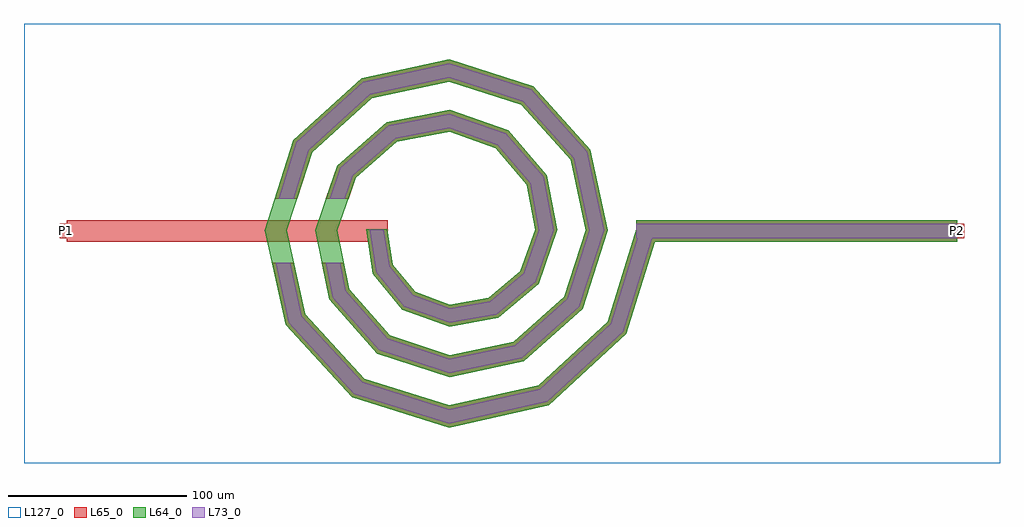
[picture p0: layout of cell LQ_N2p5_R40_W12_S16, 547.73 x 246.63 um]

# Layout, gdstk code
import gdstk
lib = gdstk.Library(unit=1e-6, precision=1e-09)
def R(c, l, rs):  # rectangles x0, y0, x1, y1
    for r in rs: c.add(gdstk.rectangle(r[:2], r[2:], *l))
def P(c, l, *ps):  # polygons
    for p in ps: c.add(gdstk.Polygon(p, *l))
L64_0 = (64, 0)
L65_0 = (65, 0)
L73_0 = (73, 0)
L127_0 = (127, 0)

lq_n2p5_r40_w12_s16 = lib.new_cell('LQ_N2p5_R40_W12_S16')
R(lq_n2p5_r40_w12_s16, L64_0, [(105.269,-6,285.269,6)])
P(lq_n2p5_r40_w12_s16, L64_0, [(-31.411,-18.87),(-18.975,-34.073),(0.574,-41.353),(22.329,-37.582),(40.159,-22.583),(48.429,0.5),(43.744,25.809),(26.175,46.256),(0.443,55.506),(-29.302,49.899),(-52.361,29.756),(-62.584,0.397),(-56.051,-32.804),(-33.33,-58.472),(0.36,-69.663),(36.314,-62.198),(64.586,-36.897),(76.742,0.329),(68.344,39.828),(40.461,70.704),(0.304,83.821),(-43.347,74.487),(-76.823,44.021),(-90.901,0.282),(-80.629,-46.869),(-47.578,-82.945),(0.262,-97.981),(50.393,-86.77),(89.068,-51.133),(105.54,1.783),(116.998,-1.783),(99.568,-57.775),(56.156,-97.778),(0.262,-110.395),(-54.25,-93.427),(-91.654,-52.599),(-103.314,0.282),(-87.284,50.726),(-49.04,85.532),(0.304,96.232),(47.206,81.139),(79.411,45.478),(89.15,0.329),(74.992,-43.688),(41.912,-73.292),(0.36,-82.068),(-40.175,-68.843),(-67.176,-38.341),(-74.985,0.397),(-62.689,36.668),(-34.762,61.063),(0.443,67.902),(33.169,56.53),(54.954,31.175),(60.817,0.5),(50.363,-29.68),(27.573,-48.852),(0.574,-53.731),(-26.207,-44.185),(-42.758,-23.952),(-46.388,0.935),(-34.535,0.935)])
R(lq_n2p5_r40_w12_s16, L65_0, [(-214.462,-6,-34.462,6), (105.269,-6,285.269,6), (-218.462,-4,-210.462,4), (281.269,-4,289.269,4)])
P(lq_n2p5_r40_w12_s16, L65_0, [(-80.629,-46.869),(-47.578,-82.945),(0.262,-97.981),(50.393,-86.77),(89.068,-51.133),(105.54,1.783),(116.998,-1.783),(99.568,-57.776),(56.156,-97.778),(0.262,-110.395),(-54.25,-93.427),(-91.654,-52.599),(-99.283,-18),(-86.995,-18)],
  [(-56.051,-32.804),(-33.33,-58.472),(0.36,-69.663),(36.314,-62.199),(64.586,-36.897),(76.742,0.33),(68.344,39.828),(40.461,70.704),(0.304,83.822),(-43.347,74.487),(-76.823,44.021),(-85.092,18),(-97.683,18),(-87.284,50.727),(-49.04,85.532),(0.304,96.232),(47.206,81.139),(79.411,45.478),(89.15,0.33),(74.992,-43.688),(41.912,-73.292),(0.36,-82.068),(-40.176,-68.843),(-67.176,-38.341),(-71.277,-18),(-59.035,-18)],
  [(-18.975,-34.073),(0.574,-41.353),(22.329,-37.582),(40.159,-22.583),(48.429,0.5),(43.744,25.809),(26.175,46.256),(0.443,55.506),(-29.302,49.899),(-52.361,29.756),(-56.347,18),(-69.018,18),(-62.689,36.668),(-34.762,61.063),(0.443,67.902),(33.169,56.53),(54.954,31.175),(60.817,0.5),(50.363,-29.68),(27.573,-48.852),(0.574,-53.731),(-26.207,-44.185),(-42.758,-23.952),(-46.388,0.935),(-34.535,0.935),(-31.411,-18.87)])
R(lq_n2p5_r40_w12_s16, L73_0, [(105.269,-4,285.269,4)])
P(lq_n2p5_r40_w12_s16, L73_0, [(-82.467,-47.824),(-48.69,-84.692),(0.175,-100.05),(51.353,-88.605),(90.818,-52.24),(107.45,1.189),(115.088,-1.189),(97.818,-56.669),(55.195,-95.943),(0.175,-108.326),(-53.138,-91.68),(-89.817,-51.644),(-97.235,-18),(-89.043,-18)],
  [(-57.905,-33.727),(-34.471,-60.2),(0.24,-71.73),(37.247,-64.047),(66.321,-38.029),(78.81,0.22),(70.188,40.77),(41.585,72.443),(0.202,85.89),(-44.296,76.328),(-78.567,45.138),(-87.191,18),(-95.585,18),(-85.54,49.609),(-48.091,83.691),(0.202,94.164),(46.082,79.4),(77.566,44.536),(87.082,0.22),(73.258,-42.557),(40.979,-71.443),(0.24,-80),(-39.035,-67.114),(-65.322,-37.418),(-69.236,-18),(-61.075,-18)],
  [(-20.18,-35.758),(0.383,-43.416),(23.203,-39.46),(41.86,-23.766),(50.493,0.333),(45.612,26.703),(27.34,47.969),(0.295,57.572),(-30.212,51.76),(-54.083,30.908),(-58.459,18),(-66.906,18),(-60.968,35.516),(-33.852,59.202),(0.295,65.836),(32.003,54.818),(53.086,30.28),(58.753,0.333),(48.662,-28.497),(26.699,-46.974),(0.383,-51.668),(-25.002,-42.499),(-40.867,-23.105),(-44.413,0.623),(-36.51,0.623),(-33.302,-19.717)])
R(lq_n2p5_r40_w12_s16, L127_0, [(-238.462,-130.395,309.269,116.232)])
lq_n2p5_r40_w12_s16.add(gdstk.Label('P2', (285.269,0), layer=65, texttype=0))
lq_n2p5_r40_w12_s16.add(gdstk.Label('P1', (-214.462,0), layer=65, texttype=0))
lq_n2p5_r40_w12_s16.add(gdstk.Label('P2', (289.269,0), layer=145, texttype=0))
lq_n2p5_r40_w12_s16.add(gdstk.Label('P1', (-218.462,0), layer=145, texttype=0))

lib.write_gds('LQ_N2p5_R40_W12_S16.gds')
